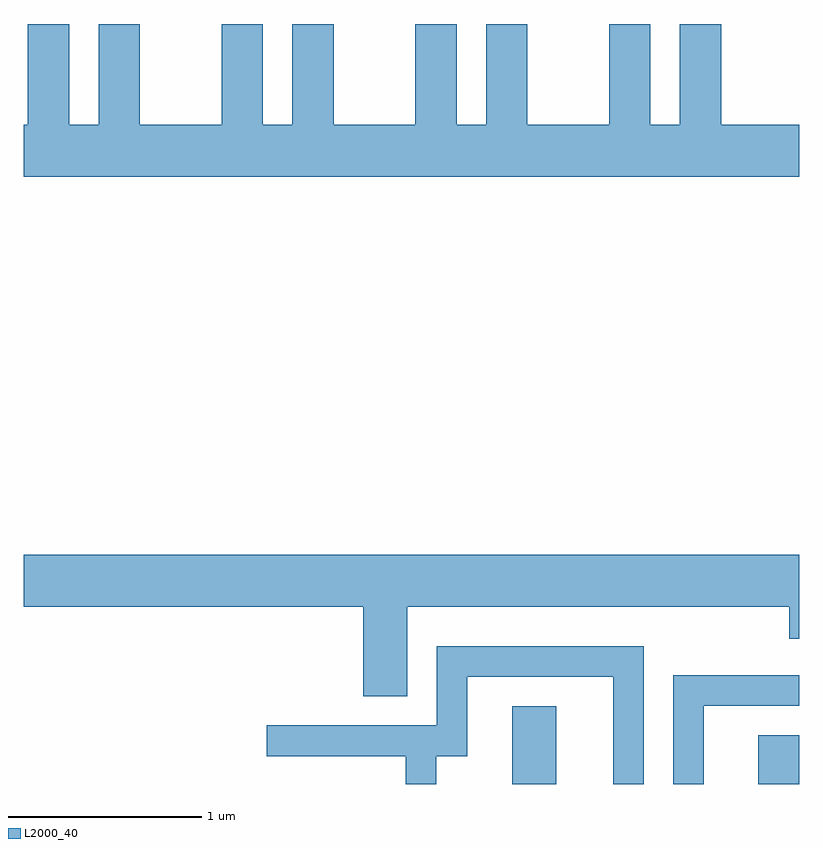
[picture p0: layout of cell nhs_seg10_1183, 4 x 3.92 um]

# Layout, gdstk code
import gdstk
lib = gdstk.Library(unit=1e-6, precision=1e-09)
def R(c, l, rs):  # rectangles x0, y0, x1, y1
    for r in rs: c.add(gdstk.rectangle(r[:2], r[2:], *l))
def P(c, l, *ps):  # polygons
    for p in ps: c.add(gdstk.Polygon(p, *l))
L2000_40 = (2000, 40)

nhs_seg10_1183 = lib.new_cell('nhs_seg10_1183')
R(nhs_seg10_1183, L2000_40, [(222.131,2148.522,222.359,2148.924), (223.401,2148.522,223.611,2148.774)])
P(nhs_seg10_1183, L2000_40, [(223.611,2151.924),(223.209,2151.924),(223.209,2152.444),(222.996,2152.444),(222.996,2151.924),(222.844,2151.924),(222.844,2152.444),(222.631,2152.444),(222.631,2151.924),(222.209,2151.924),(222.209,2152.444),(221.996,2152.444),(221.996,2151.924),(221.844,2151.924),(221.844,2152.444),(221.631,2152.444),(221.631,2151.924),(221.209,2151.924),(221.209,2152.444),(220.996,2152.444),(220.996,2151.924),(220.844,2151.924),(220.844,2152.444),(220.631,2152.444),(220.631,2151.924),(220.209,2151.924),(220.209,2152.444),(219.996,2152.444),(219.996,2151.924),(219.844,2151.924),(219.844,2152.444),(219.631,2152.444),(219.631,2151.924),(219.611,2151.924),(219.611,2151.656),(223.611,2151.656)],
  [(221.589,2149.436),(223.561,2149.436),(223.561,2149.271),(223.611,2149.271),(223.611,2149.704),(219.611,2149.704),(219.611,2149.436),(221.361,2149.436),(221.361,2148.976),(221.589,2148.976)],
  [(221.739,2148.666),(221.899,2148.666),(221.899,2149.076),(222.651,2149.076),(222.651,2148.522),(222.809,2148.522),(222.809,2149.234),(221.741,2149.234),(221.741,2148.824),(220.863,2148.824),(220.863,2148.666),(221.581,2148.666),(221.581,2148.522),(221.739,2148.522)],
  [(223.119,2148.926),(223.611,2148.926),(223.611,2149.084),(222.961,2149.084),(222.961,2148.522),(223.119,2148.522)])

lib.write_gds('nhs_seg10_1183.gds')
